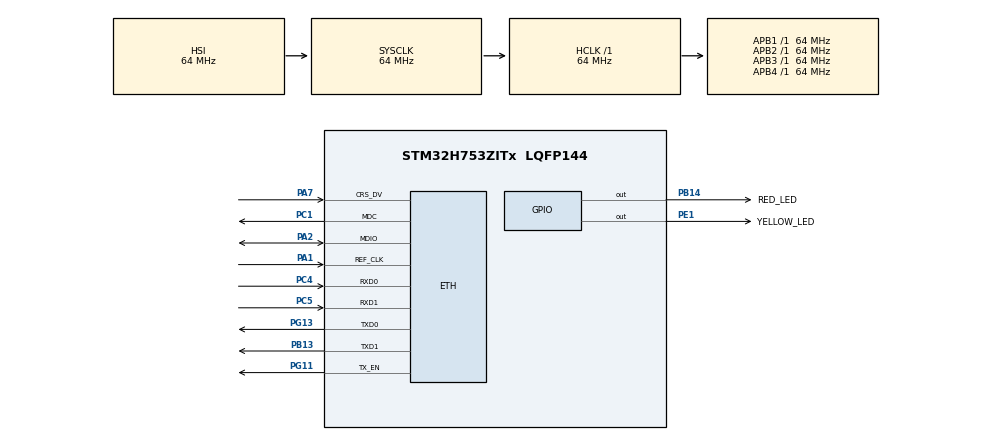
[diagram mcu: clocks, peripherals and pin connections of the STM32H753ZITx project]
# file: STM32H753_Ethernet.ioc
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CORTEX_M7.AccessPermission_S-Cortex_Memory_Protection_Unit_Region1_Settings_S=MPU_REGION_FULL_ACCESS
CORTEX_M7.BaseAddress_S-Cortex_Memory_Protection_Unit_Region1_Settings_S=0x30000000
CORTEX_M7.CPU_DCache=Enabled
CORTEX_M7.CPU_ICache=Enabled
CORTEX_M7.DisableExec_S-Cortex_Memory_Protection_Unit_Region1_Settings_S=MPU_INSTRUCTION_ACCESS_DISABLE
CORTEX_M7.Enable_S-Cortex_Memory_Protection_Unit_Region1_Settings_S=MPU_REGION_ENABLE
CORTEX_M7.IsShareable_S-Cortex_Memory_Protection_Unit_Region1_Settings_S=MPU_ACCESS_SHAREABLE
CORTEX_M7.Size_S-Cortex_Memory_Protection_Unit_Region1_Settings_S=MPU_REGION_SIZE_32KB
CORTEX_M7.TypeExtField_S-Cortex_Memory_Protection_Unit_Region1_Settings_S=MPU_TEX_LEVEL1
CORTEX_M7.default_mode_Activation=1
ETH.MediaInterface=HAL_ETH_RMII_MODE
ETH.RxBuffLen=1524
LWIP.BSP.number=1
LWIP.GATEWAY_ADDRESS=000.000.000.000
LWIP.IP_ADDRESS=192.168.001.010
LWIP.LWIP_DHCP=0
LWIP.LWIP_RAM_HEAP_POINTER=0x30004000
LWIP.MEM_SIZE=5*1024
LWIP.NETMASK_ADDRESS=255.255.255.000
LWIP.Version=v2.1.2_Cube
LWIP0.BSP.STBoard=false
LWIP0.BSP.api=BSP_COMPONENT_DRIVER
LWIP0.BSP.component=LAN8742
LWIP0.BSP.instance=LAN8742
LWIP0.BSP.name=Driver_PHY
LWIP0.BSP.semaphore=S_LAN8742
LWIP0.BSP.solution=LAN8742
Mcu.Family=STM32H7
Mcu.Name=STM32H753ZITx
Mcu.Package=LQFP144
NVIC.ETH_IRQn=true\:0\:0\:false\:false\:true\:true\:true\:true
NVIC.PriorityGroup=NVIC_PRIORITYGROUP_4
PA1.Mode=RMII
PA1.Signal=ETH_REF_CLK
PA13\ (JTMS/SWDIO).Mode=Serial_Wire
PA13\ (JTMS/SWDIO).Signal=DEBUG_JTMS-SWDIO
PA14\ (JTCK/SWCLK).Mode=Serial_Wire
PA14\ (JTCK/SWCLK).Signal=DEBUG_JTCK-SWCLK
PA2.Mode=RMII
PA2.Signal=ETH_MDIO
PA7.Mode=RMII
PA7.Signal=ETH_CRS_DV
PB13.Mode=RMII
PB13.Signal=ETH_TXD1
PB14.GPIO_Label=RED_LED
PB14.Signal=GPIO_Output
PC1.Mode=RMII
PC1.Signal=ETH_MDC
PC4.Mode=RMII
PC4.Signal=ETH_RXD0
PC5.Mode=RMII
PC5.Signal=ETH_RXD1
PE1.GPIO_Label=YELLOW_LED
PE1.PinState=GPIO_PIN_SET
PE1.Signal=GPIO_Output
PG11.Mode=RMII
PG11.Signal=ETH_TX_EN
PG13.Mode=RMII
PG13.Signal=ETH_TXD0
ProjectManager.HeapSize=0x200
ProjectManager.StackSize=0x400
ProjectManager.TargetToolchain=STM32CubeIDE
RCC.ADCFreq_Value=129000000
RCC.APB1Freq_Value=64000000
RCC.APB2Freq_Value=64000000
RCC.APB3Freq_Value=64000000
RCC.APB4Freq_Value=64000000
RCC.CortexFreq_Value=64000000
RCC.HCLKFreq_Value=64000000
RCC.SYSCLKFreq_VALUE=64000000
RCC.USBFreq_Value=129000000
VP_LWIP_VS_Enabled.Mode=Enabled
VP_MEMORYMAP_VS_MEMORYMAP.Mode=CurAppReg
board=custom

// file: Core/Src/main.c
/* USER CODE BEGIN Header */
/**
  ******************************************************************************
  * @file           : main.c
  * @brief          : Main program body
  ******************************************************************************
  * @attention
  *
  * Copyright (c) 2026 STMicroelectronics.
  * All rights reserved.
  *
  * This software is licensed under terms that can be found in the LICENSE file
  * in the root directory of this software component.
  * If no LICENSE file comes with this software, it is provided AS-IS.
  *
  ******************************************************************************
  */
/* USER CODE END Header */
#include "main.h"
#include "lwip.h"
#include "udp.h"

void SystemClock_Config(void);
static void MPU_Config(void);
static void MX_GPIO_Init(void);

/* USER CODE BEGIN 0 */
void UDP_receiveCallback(void *arg, struct udp_pcb *upcb, struct pbuf *p, const ip_addr_t *addr, u16_t port)
{
	struct pbuf *txBuf;

	// Get the IP of the client.
	// char *remoteIP = ipaddr_ntoa(addr);

	char buf[100];

	int len = sprintf (buf,"OK > %s", (char*)p->payload);

	// Allocate pbuf from RAM.
	txBuf = pbuf_alloc(PBUF_TRANSPORT,len, PBUF_RAM);
	pbuf_take(txBuf, buf, len);

	// Connect to the remote client.
	udp_connect(upcb, addr, port);
	// Send a Reply to the client.
	udp_send(upcb, txBuf);
	// Free the UDP connection, so we can accept new clients.
	udp_disconnect(upcb);

  pbuf_free(txBuf);
	pbuf_free(p);
}

void UDP_Init(void)
{
  struct udp_pcb *upcb;
  err_t err;

  upcb = udp_new();
  // Bind the upcb to the local IP:port (192.168.1.10:5005)
  ip_addr_t ipAddrs;
  IP_ADDR4(&ipAddrs, 192, 168, 1, 10);
  err = udp_bind(upcb, &ipAddrs, 5005);

  if(err == ERR_OK) {
    udp_recv(upcb, UDP_receiveCallback, NULL);
  }else {
    udp_remove(upcb);
  }
}
/* USER CODE END 0 */

int main(void)
{

  /* MPU Configuration--------------------------------------------------------*/
  MPU_Config();

  /* Enable the CPU Cache */

  /* Enable I-Cache---------------------------------------------------------*/
  SCB_EnableICache();

  /* Enable D-Cache---------------------------------------------------------*/
  SCB_EnableDCache();

  /* MCU Configuration--------------------------------------------------------*/

  /* Reset of all peripherals, Initializes the Flash interface and the Systick. */
  HAL_Init();

  /* USER CODE BEGIN Init */
  HAL_Delay(1000);
  /* USER CODE END Init */

  /* Configure the system clock */
  SystemClock_Config();

  /* USER CODE BEGIN SysInit */
  __HAL_RCC_D2SRAM1_CLK_ENABLE();
  __HAL_RCC_D2SRAM2_CLK_ENABLE();
  __HAL_RCC_D2SRAM3_CLK_ENABLE();
  /* USER CODE END SysInit */

  /* Initialize all configured peripherals */
  MX_GPIO_Init();
  MX_LWIP_Init();
  /* USER CODE BEGIN 2 */
  UDP_Init();
  /* USER CODE END 2 */

  /* Infinite loop */
  /* USER CODE BEGIN WHILE */

  while (1)
  {
	  MX_LWIP_Process();
    /* USER CODE END WHILE */

  }
}

void SystemClock_Config(void)
{
  RCC_OscInitTypeDef RCC_OscInitStruct = {0};
  RCC_ClkInitTypeDef RCC_ClkInitStruct = {0};

  /** Supply configuration update enable
  */
  HAL_PWREx_ConfigSupply(PWR_LDO_SUPPLY);

  /** Configure the main internal regulator output voltage
  */
  __HAL_PWR_VOLTAGESCALING_CONFIG(PWR_REGULATOR_VOLTAGE_SCALE3);

  while(!__HAL_PWR_GET_FLAG(PWR_FLAG_VOSRDY)) {}

  /** Initializes the RCC Oscillators according to the specified parameters
  * in the RCC_OscInitTypeDef structure.
  */
  RCC_OscInitStruct.OscillatorType = RCC_OSCILLATORTYPE_HSI;
  RCC_OscInitStruct.HSIState = RCC_HSI_DIV1;
  RCC_OscInitStruct.HSICalibrationValue = RCC_HSICALIBRATION_DEFAULT;
  RCC_OscInitStruct.PLL.PLLState = RCC_PLL_NONE;
  if (HAL_RCC_OscConfig(&RCC_OscInitStruct) != HAL_OK)
  {
    Error_Handler();
  }

  /** Initializes the CPU, AHB and APB buses clocks
  */
  RCC_ClkInitStruct.ClockType = RCC_CLOCKTYPE_HCLK|RCC_CLOCKTYPE_SYSCLK
                              |RCC_CLOCKTYPE_PCLK1|RCC_CLOCKTYPE_PCLK2
                              |RCC_CLOCKTYPE_D3PCLK1|RCC_CLOCKTYPE_D1PCLK1;
  RCC_ClkInitStruct.SYSCLKSource = RCC_SYSCLKSOURCE_HSI;
  RCC_ClkInitStruct.SYSCLKDivider = RCC_SYSCLK_DIV1;
  RCC_ClkInitStruct.AHBCLKDivider = RCC_HCLK_DIV1;
  RCC_ClkInitStruct.APB3CLKDivider = RCC_APB3_DIV1;
  RCC_ClkInitStruct.APB1CLKDivider = RCC_APB1_DIV1;
  RCC_ClkInitStruct.APB2CLKDivider = RCC_APB2_DIV1;
  RCC_ClkInitStruct.APB4CLKDivider = RCC_APB4_DIV1;

  if (HAL_RCC_ClockConfig(&RCC_ClkInitStruct, FLASH_LATENCY_1) != HAL_OK)
  {
    Error_Handler();
  }
}

static void MX_GPIO_Init(void)
{
  GPIO_InitTypeDef GPIO_InitStruct = {0};

  /* GPIO Ports Clock Enable */
  __HAL_RCC_GPIOC_CLK_ENABLE();
  __HAL_RCC_GPIOA_CLK_ENABLE();
  __HAL_RCC_GPIOB_CLK_ENABLE();
  __HAL_RCC_GPIOG_CLK_ENABLE();
  __HAL_RCC_GPIOE_CLK_ENABLE();

  /*Configure GPIO pin Output Level */
  HAL_GPIO_WritePin(RED_LED_GPIO_Port, RED_LED_Pin, GPIO_PIN_RESET);

  /*Configure GPIO pin Output Level */
  HAL_GPIO_WritePin(YELLOW_LED_GPIO_Port, YELLOW_LED_Pin, GPIO_PIN_SET);

  /*Configure GPIO pin : RED_LED_Pin */
  GPIO_InitStruct.Pin = RED_LED_Pin;
  GPIO_InitStruct.Mode = GPIO_MODE_OUTPUT_PP;
  GPIO_InitStruct.Pull = GPIO_NOPULL;
  GPIO_InitStruct.Speed = GPIO_SPEED_FREQ_LOW;
  HAL_GPIO_Init(RED_LED_GPIO_Port, &GPIO_InitStruct);

  /*Configure GPIO pin : YELLOW_LED_Pin */
  GPIO_InitStruct.Pin = YELLOW_LED_Pin;
  GPIO_InitStruct.Mode = GPIO_MODE_OUTPUT_PP;
  GPIO_InitStruct.Pull = GPIO_NOPULL;
  GPIO_InitStruct.Speed = GPIO_SPEED_FREQ_LOW;
  HAL_GPIO_Init(YELLOW_LED_GPIO_Port, &GPIO_InitStruct);

}

 /* MPU Configuration */

void MPU_Config(void)
{
  MPU_Region_InitTypeDef MPU_InitStruct = {0};

  /* Disables the MPU */
  HAL_MPU_Disable();

  /** Initializes and configures the Region and the memory to be protected
  */
  MPU_InitStruct.Enable = MPU_REGION_ENABLE;
  MPU_InitStruct.Number = MPU_REGION_NUMBER0;
  MPU_InitStruct.BaseAddress = 0x0;
  MPU_InitStruct.Size = MPU_REGION_SIZE_4GB;
  MPU_InitStruct.SubRegionDisable = 0x87;
  MPU_InitStruct.TypeExtField = MPU_TEX_LEVEL0;
  MPU_InitStruct.AccessPermission = MPU_REGION_NO_ACCESS;
  MPU_InitStruct.DisableExec = MPU_INSTRUCTION_ACCESS_DISABLE;
  MPU_InitStruct.IsShareable = MPU_ACCESS_SHAREABLE;
  MPU_InitStruct.IsCacheable = MPU_ACCESS_NOT_CACHEABLE;
  MPU_InitStruct.IsBufferable = MPU_ACCESS_NOT_BUFFERABLE;

  HAL_MPU_ConfigRegion(&MPU_InitStruct);

  /** Initializes and configures the Region and the memory to be protected
  */
  MPU_InitStruct.Number = MPU_REGION_NUMBER1;
  MPU_InitStruct.BaseAddress = 0x30000000;
  MPU_InitStruct.Size = MPU_REGION_SIZE_32KB;
  MPU_InitStruct.SubRegionDisable = 0x0;
  MPU_InitStruct.TypeExtField = MPU_TEX_LEVEL1;
  MPU_InitStruct.AccessPermission = MPU_REGION_FULL_ACCESS;

  HAL_MPU_ConfigRegion(&MPU_InitStruct);
  /* Enables the MPU */
  HAL_MPU_Enable(MPU_PRIVILEGED_DEFAULT);

}

void Error_Handler(void)
{
  __disable_irq();
  while (1)
  {
  }
}
